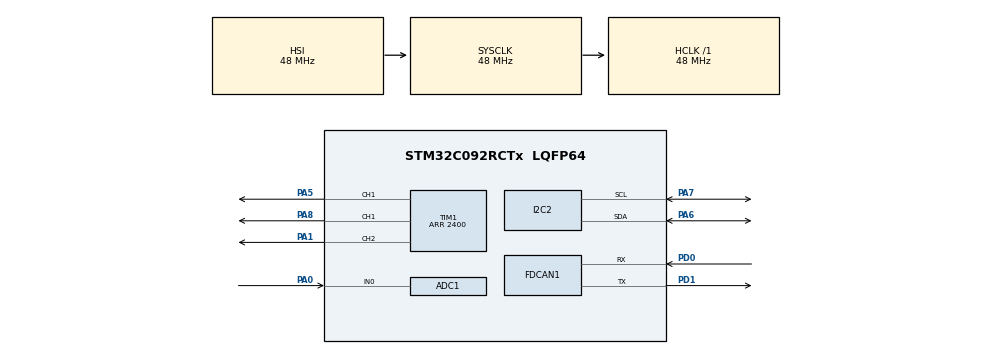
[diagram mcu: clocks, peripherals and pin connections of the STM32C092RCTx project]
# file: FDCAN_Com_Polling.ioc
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ADC1.NbrOfConversionFlag=0
ADC1.SelectedChannel=ADC_CHANNEL_0
ADC1.master=1
FDCAN1.AutoRetransmission=ENABLE
FDCAN1.CalculateBaudRateData=1000000
FDCAN1.CalculateBaudRateNominal=1000000
FDCAN1.CalculateTimeBitNominal=1000
FDCAN1.CalculateTimeQuantumNominal=20.833333333333332
FDCAN1.DataSyncJumpWidth=6
FDCAN1.DataTimeSeg1=17
FDCAN1.DataTimeSeg2=6
FDCAN1.FrameFormat=FDCAN_FRAME_FD_BRS
FDCAN1.NominalPrescaler=1
FDCAN1.NominalSyncJumpWidth=12
FDCAN1.NominalTimeSeg1=35
FDCAN1.NominalTimeSeg2=12
FDCAN1.StdFiltersNbr=1
FDCAN1.TransmitPause=ENABLE
I2C2.Timing=0x10805D88
Mcu.Family=STM32C0
Mcu.Name=STM32C092RCTx
Mcu.Package=LQFP64
NUCLEO-C092RC.LD1=true
NUCLEO-C092RC.LD2=true
NUCLEO-C092RC.VCP=true
NVIC.TIM2_IRQn=true\:0\:0\:false\:false\:true\:true\:true\:true
PA0.Mode=IN0
PA0.Signal=ADC1_IN0
PA1.Signal=S_TIM1_CH2
PA5.Signal=S_TIM1_CH1
PA6.Mode=I2C
PA6.Signal=I2C2_SDA
PA7.Mode=I2C
PA7.Signal=I2C2_SCL
PA8.Signal=S_TIM1_CH1
PD0.Mode=FDCAN_Activate
PD0.Signal=FDCAN1_RX
PD1.Mode=FDCAN_Activate
PD1.Signal=FDCAN1_TX
ProjectManager.HeapSize=0x200
ProjectManager.StackSize=0x400
ProjectManager.TargetToolchain=STM32CubeIDE
RCC.ADCFreq_Value=48000000
RCC.AHBFreq_Value=48000000
RCC.CortexFreq_Value=48000000
RCC.EXTERNAL_CLOCK_VALUE=12288000
RCC.HCLKFreq_Value=48000000
RCC.HSE_VALUE=8000000
RCC.HSISYSCLKDivider=RCC_HSI_DIV1
RCC.HSI_VALUE=48000000
RCC.LSE_VALUE=32768
RCC.SYSCLKFreq_VALUE=48000000
SH.S_TIM1_CH1.0=TIM1_CH1,PWM Generation1 CH1
SH.S_TIM1_CH2.0=TIM1_CH2,PWM Generation2 CH2
TIM1.Channel-PWM\ Generation1\ CH1=TIM_CHANNEL_1
TIM1.Channel-PWM\ Generation2\ CH2=TIM_CHANNEL_2
TIM1.Period=2400
TIM2.Period=48000
VP_NUCLEO-C092RC_VS_BSP_COMMON.Mode=COMMON
VP_TIM2_VS_ClockSourceINT.Mode=Internal
board=NUCLEO-C092RC

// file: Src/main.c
/* USER CODE BEGIN Header */
/**
  ******************************************************************************
  * @file    FDCAN/FDCAN_Com_Polling/Src/main.c
  * @author  MCD Application Team
  * @brief   This sample code shows how to achieve Polling Process Communication
  *          between two FDCAN units.
  ******************************************************************************
  * @attention
  *
  * Copyright (c) 2024 STMicroelectronics.
  * All rights reserved.
  *
  * This software is licensed under terms that can be found in the LICENSE file
  * in the root directory of this software component.
  * If no LICENSE file comes with this software, it is provided AS-IS.
  *
  ******************************************************************************
  */
/* USER CODE END Header */
#include "main.h"

/* USER CODE BEGIN PD */
#define TX_ID          (0x111)   /* TX CAN message identifier    */
#define RX_ID          (0x111)   /* RX CAN message identifier    */
/* USER CODE END PD */

/* USER CODE BEGIN PM */
#define COUNTOF(BUFFER) (sizeof((BUFFER)) / sizeof(*(BUFFER)))
/* USER CODE END PM */

COM_InitTypeDef BspCOMInit;
ADC_HandleTypeDef hadc1;

FDCAN_HandleTypeDef hfdcan1;

I2C_HandleTypeDef hi2c2;

TIM_HandleTypeDef htim1;
TIM_HandleTypeDef htim2;

/* USER CODE BEGIN PV */
FDCAN_RxHeaderTypeDef rxHeader;
FDCAN_TxHeaderTypeDef txHeader;
uint8_t rxData[16U];
static const uint8_t txData[] = {0x10, 0x32, 0x54, 0x76, 0x98, 0x00, 0x11, 0x22,
                                 0x33, 0x44, 0x55, 0x66, 0x77, 0x88, 0x99, 0x00
                                };

/* USER CODE END PV */

void SystemClock_Config(void);
static void MX_GPIO_Init(void);
static void MX_FDCAN1_Init(void);
static void MX_ADC1_Init(void);
static void MX_TIM1_Init(void);
static void MX_TIM2_Init(void);
static void MX_I2C2_Init(void);
/* USER CODE BEGIN PFP */
static uint32_t BufferCmp8b(const uint8_t *pBuffer1, const uint8_t *pBuffer2, uint16_t BufferLength);

/* USER CODE END PFP */

/* USER CODE BEGIN 0 */

uint32_t read_adc(){
	uint32_t raw;
	HAL_ADC_Start(&hadc1);                                 // start conversion
	if (HAL_ADC_PollForConversion(&hadc1, 10) == HAL_OK)  // wait (10 ms timeout)
	{
	    raw = HAL_ADC_GetValue(&hadc1);                   // read raw ADC value
	}
	else {
	    raw = 0;
	}
	HAL_ADC_Stop(&hadc1);
	return raw;
}
#define INA219_ADDR 0b1000000 // I2C address
#define INA219_REG_CONFIG 0x00 // config register address
#define INA219_REG_CURRENT 0x04 // current register
#define INA219_REG_CALIBRATION 0x05 // calibration register

volatile float kp = 6;
volatile float ki = 1800;

float desired_current[400];
float saved_current[400];
float pid_out[400];

int ind = 0;
float curr = 100.0;

void init_setpoint(float arr[400]){
    for (int ii = 0; ii<4; ii++){
        for (int jj = 0; jj<100; jj++){
            arr[ind] = curr;
            ind++;
        }
        curr = -curr;
    }
}

#define EINTMAX 200
#define EINTMIN -200

volatile int state = 0;

// private functions
void writeINA219(int reg, int value);
signed short readINA219(unsigned char reg);

void init_ina219();
float read_ina219();

void init_ina219(){

    // set the INA219 sensitivity - 10 bit, plus/minus160mV, 148us per sample
    unsigned short ina219_calValue = 1024;
    unsigned short ina219_config = 0b0011000010001111;
    writeINA219(INA219_REG_CALIBRATION, ina219_calValue);
    writeINA219(INA219_REG_CONFIG, ina219_config);
}

float read_ina219(){
    float ma = 0;
    signed short value = readINA219(INA219_REG_CURRENT);
    ma = value / 3.0;
    return ma;
}

// write 2 bytes
void writeINA219(int reg, int value){
    uint8_t buf[3];
    buf[0] = reg;
    buf[1] = value>>8;
    buf[2] = value&0xff;
    HAL_I2C_Master_Transmit(&hi2c2, INA219_ADDR<<1, buf, 3, 10);
}

// read 2 bytes
signed short readINA219(unsigned char reg){
	HAL_I2C_Master_Transmit(&hi2c2, INA219_ADDR<<1, &reg, 1, 10);
    uint8_t buffer[2];
    HAL_I2C_Master_Receive(&hi2c2, INA219_ADDR<<1, buffer, 2, 10);
    signed short value = (buffer[0]<<8)|buffer[1];
    return value;
}

void set_duty(float duty){
    // printf("duty in set: %f ", duty);
    if (duty > 0){
    	__HAL_TIM_SET_COMPARE(&htim1, TIM_CHANNEL_1, 2400);
    	__HAL_TIM_SET_COMPARE(&htim1, TIM_CHANNEL_2, 2400*(100-duty)/100);
        // printf("wrap level: %f ", 2500 * (100-duty)/100);
    }
    else if (duty < 0){
    	__HAL_TIM_SET_COMPARE(&htim1, TIM_CHANNEL_1, 2400*(100-duty)/100);
        __HAL_TIM_SET_COMPARE(&htim1, TIM_CHANNEL_2, 2400);

    }
    else if (duty == 0){
    	__HAL_TIM_SET_COMPARE(&htim1, TIM_CHANNEL_1, 2400);
    	__HAL_TIM_SET_COMPARE(&htim1, TIM_CHANNEL_2, 2400);
    }

}

// timer based interrupt
void HAL_TIM_PeriodElapsedCallback(TIM_HandleTypeDef *htim)
{
    if (htim == &htim2) {
    	static volatile int counter = 0;
    	uint32_t position = read_adc();

    	if (position > 4000 || position < 550){
    					  __HAL_TIM_SET_COMPARE(&htim1, TIM_CHANNEL_1, 2400);
    					  __HAL_TIM_SET_COMPARE(&htim1, TIM_CHANNEL_2, 2400);
    				 }
    	if (state) {
			  // 3955 is zero degrees, 552 is 180 degrees,

    		saved_current[counter] = read_ina219();

            static int eint = 0;
            int error = desired_current[counter] - saved_current[counter];

            counter++;
            if (counter == 400){
                counter = 0;
                __HAL_TIM_SET_COMPARE(&htim1, TIM_CHANNEL_1, 2400);
                __HAL_TIM_SET_COMPARE(&htim1, TIM_CHANNEL_2, 2400);
                eint = 0;
                state = 0;
            }

            eint = eint + error;

            if (eint > EINTMAX){
                eint = EINTMAX;
            }
            else if (eint < EINTMIN){
                eint = EINTMIN;
            }
            float upercent = kp*error + ki*eint;
            // upercent += 50;
            pid_out[counter] = upercent;
             if(upercent > 100){
                    upercent = 100.0;
                }
            else if(upercent < -100){
                    upercent = -100;
                }
            set_duty(upercent);

		 }
        }
    }

/* USER CODE END 0 */

int main(void)
{

  /* USER CODE BEGIN 1 */

  /* STM32C0xx HAL library initialization:
       - Configure the Flash prefetch
       - Systick timer is configured by default as source of time base, but user
         can eventually implement his proper time base source (a general purpose
         timer for example or other time source), keeping in mind that Time base
         duration should be kept 1ms since PPP_TIMEOUT_VALUEs are defined and
         handled in milliseconds basis.
       - Low Level Initialization
     */
  /* USER CODE END 1 */

  /* MCU Configuration--------------------------------------------------------*/

  /* Reset of all peripherals, Initializes the Flash interface and the Systick. */
  HAL_Init();

  /* Configure the system clock */
  SystemClock_Config();

  /* USER CODE BEGIN SysInit */
  /* Configure LED1 and LED2 */
  BSP_LED_Init(LED1);
  BSP_LED_Init(LED2);

  /* Configure User push-button in interrupt mode */
  BSP_PB_Init(BUTTON_USER, BUTTON_MODE_EXTI);

  /* USER CODE END SysInit */

  /* Initialize all configured peripherals */
  MX_GPIO_Init();
  MX_FDCAN1_Init();
  MX_ADC1_Init();
  MX_TIM1_Init();
  MX_TIM2_Init();
  MX_I2C2_Init();
  /* USER CODE BEGIN 2 */

  // enable timer and interrupt
  HAL_TIM_Base_Start_IT(&htim2);

  // enable PWM
  __HAL_TIM_SET_COMPARE(&htim1, TIM_CHANNEL_1, 2400);
  __HAL_TIM_SET_COMPARE(&htim1, TIM_CHANNEL_2, 2400);
  HAL_TIM_PWM_Start(&htim1, TIM_CHANNEL_1);
  HAL_TIM_PWM_Start(&htim1, TIM_CHANNEL_2);

  /* Configure reception filter to Rx FIFO 0 */
  FDCAN_FilterTypeDef        sFilterConfig;
  sFilterConfig.IdType       = FDCAN_STANDARD_ID;
  sFilterConfig.FilterIndex  = 0U;
  sFilterConfig.FilterType   = FDCAN_FILTER_MASK;
  sFilterConfig.FilterConfig = FDCAN_FILTER_TO_RXFIFO0;
  sFilterConfig.FilterID1    = TX_ID;
  sFilterConfig.FilterID2    = 0x7FF;
  if (HAL_FDCAN_ConfigFilter(&hfdcan1, &sFilterConfig) != HAL_OK)
  {
    Error_Handler();
  }

  /**
    *  Configure global filter:
    *    - Filter all remote frames with STD and EXT ID
    *    - Reject non matching frames with STD ID and EXT ID
    */
  if (HAL_FDCAN_ConfigGlobalFilter(&hfdcan1,
                                   FDCAN_REJECT, FDCAN_REJECT,
                                   FDCAN_FILTER_REMOTE, FDCAN_FILTER_REMOTE) != HAL_OK)
  {
    Error_Handler();
  }

  /* Prepare Tx message Header */
  txHeader.Identifier          = TX_ID;
  txHeader.IdType              = FDCAN_STANDARD_ID;
  txHeader.TxFrameType         = FDCAN_DATA_FRAME;
  txHeader.DataLength          = FDCAN_DLC_BYTES_16;
  txHeader.ErrorStateIndicator = FDCAN_ESI_ACTIVE;
  txHeader.BitRateSwitch       = FDCAN_BRS_ON;
  txHeader.FDFormat            = FDCAN_FD_CAN;
  txHeader.TxEventFifoControl  = FDCAN_NO_TX_EVENTS;
  txHeader.MessageMarker       = 0U;

  /**
    * Configure and enable Tx Delay Compensation, required for BRS mode.
    * TdcOffset default recommended value: DataTimeSeg1 * DataPrescaler
    * TdcFilter default recommended value: 0
    */
  if (HAL_FDCAN_ConfigTxDelayCompensation(&hfdcan1,
                                          (hfdcan1.Init.DataPrescaler * hfdcan1.Init.DataTimeSeg1), 0U) != HAL_OK)
  {
    Error_Handler();
  }

  if (HAL_FDCAN_EnableTxDelayCompensation(&hfdcan1) != HAL_OK)
  {
    Error_Handler();
  }

  /* Start FDCAN controller */
  if (HAL_FDCAN_Start(&hfdcan1) != HAL_OK)
  {
    Error_Handler();
  }
  /* USER CODE END 2 */

  /* Initialize leds */
  BSP_LED_Init(LED_GREEN);
  BSP_LED_Init(LED_BLUE);

  /* Initialize COM1 port (115200, 8 bits (7-bit data + 1 stop bit), no parity */
  BspCOMInit.BaudRate   = 115200;
  BspCOMInit.WordLength = COM_WORDLENGTH_8B;
  BspCOMInit.StopBits   = COM_STOPBITS_1;
  BspCOMInit.Parity     = COM_PARITY_NONE;
  BspCOMInit.HwFlowCtl  = COM_HWCONTROL_NONE;
  if (BSP_COM_Init(COM1, &BspCOMInit) != BSP_ERROR_NONE)
  {
    Error_Handler();
  }

  /* Infinite loop */
  /* USER CODE BEGIN WHILE */
  while (1)
  {
	  printf("in the while loop\r\n");
	  init_setpoint(desired_current);
	  printf("setpoints initialized\r\n");
	  char user_input[10];

//	  HAL_UART_Receive(&huart1, (uint8_t *)&user_input, 1, HAL_MAX_DELAY);

	  HAL_Delay(2000);
//	  if (user_input[0] == 'a'){
		 state = 1;
		 printf("set state to 1\r\n");
		  while(state){
			  HAL_Delay(100U);
		  }
		  printf("state is 0 again\r\n");
//	 }

//		  for(int i = 0; i<200; i++){
//			  float test = read_ina219();
//			  printf("current = %d\r\n", (int)test);
//		  }
//		  printf("400\n");
	  for(int i = 0; i<400; i++){
		  printf("(%d, %d), ", (int)desired_current[i], (int)saved_current[i]);
	  }

    /* Polling mode: Wait for one message received */
    while (HAL_FDCAN_GetRxFifoFillLevel(&hfdcan1, FDCAN_RX_FIFO0) < 1U)
    {
      /* Do nothing, wait */
    }

    /* Retrieve Rx message from RX FIFO0 */
    if (HAL_FDCAN_GetRxMessage(&hfdcan1, FDCAN_RX_FIFO0, &rxHeader, rxData) != HAL_OK)
    {
      Error_Handler();
    }
    printf("Received ID: 0x%03X Data: %02X %02X %02X %02X \r\n", rxHeader.Identifier, rxData[0], rxData[1], rxData[2], rxData[3]);

    /* Compare received RX message to expected data. Ignore if not matching. */
    if ((rxHeader.Identifier == RX_ID) &&
        (rxHeader.IdType     == FDCAN_STANDARD_ID) &&
        (rxHeader.DataLength == FDCAN_DLC_BYTES_16) &&
        (BufferCmp8b(txData, rxData, COUNTOF(rxData)) == 0U))
    {
      /* Turn LED1 on */
      BSP_LED_On(LED1);
    }
    /* USER CODE END WHILE */

  }
}

void SystemClock_Config(void)
{
  RCC_OscInitTypeDef RCC_OscInitStruct = {0};
  RCC_ClkInitTypeDef RCC_ClkInitStruct = {0};

  __HAL_FLASH_SET_LATENCY(FLASH_LATENCY_1);

  /** Initializes the RCC Oscillators according to the specified parameters
  * in the RCC_OscInitTypeDef structure.
  */
  RCC_OscInitStruct.OscillatorType = RCC_OSCILLATORTYPE_HSI;
  RCC_OscInitStruct.HSIState = RCC_HSI_ON;
  RCC_OscInitStruct.HSIDiv = RCC_HSI_DIV1;
  RCC_OscInitStruct.HSICalibrationValue = RCC_HSICALIBRATION_DEFAULT;
  if (HAL_RCC_OscConfig(&RCC_OscInitStruct) != HAL_OK)
  {
    Error_Handler();
  }

  /** Initializes the CPU, AHB and APB buses clocks
  */
  RCC_ClkInitStruct.ClockType = RCC_CLOCKTYPE_HCLK|RCC_CLOCKTYPE_SYSCLK
                              |RCC_CLOCKTYPE_PCLK1;
  RCC_ClkInitStruct.SYSCLKSource = RCC_SYSCLKSOURCE_HSI;
  RCC_ClkInitStruct.SYSCLKDivider = RCC_SYSCLK_DIV1;
  RCC_ClkInitStruct.AHBCLKDivider = RCC_HCLK_DIV1;
  RCC_ClkInitStruct.APB1CLKDivider = RCC_APB1_DIV1;

  if (HAL_RCC_ClockConfig(&RCC_ClkInitStruct, FLASH_LATENCY_1) != HAL_OK)
  {
    Error_Handler();
  }
}

static void MX_ADC1_Init(void)
{

  ADC_ChannelConfTypeDef sConfig = {0};

  /** Configure the global features of the ADC (Clock, Resolution, Data Alignment and number of conversion)
  */
  hadc1.Instance = ADC1;
  hadc1.Init.ClockPrescaler = ADC_CLOCK_SYNC_PCLK_DIV2;
  hadc1.Init.Resolution = ADC_RESOLUTION_12B;
  hadc1.Init.DataAlign = ADC_DATAALIGN_RIGHT;
  hadc1.Init.ScanConvMode = ADC_SCAN_SEQ_FIXED;
  hadc1.Init.EOCSelection = ADC_EOC_SINGLE_CONV;
  hadc1.Init.LowPowerAutoWait = DISABLE;
  hadc1.Init.LowPowerAutoPowerOff = DISABLE;
  hadc1.Init.ContinuousConvMode = DISABLE;
  hadc1.Init.NbrOfConversion = 1;
  hadc1.Init.DiscontinuousConvMode = DISABLE;
  hadc1.Init.ExternalTrigConv = ADC_SOFTWARE_START;
  hadc1.Init.ExternalTrigConvEdge = ADC_EXTERNALTRIGCONVEDGE_NONE;
  hadc1.Init.DMAContinuousRequests = DISABLE;
  hadc1.Init.Overrun = ADC_OVR_DATA_PRESERVED;
  hadc1.Init.SamplingTimeCommon1 = ADC_SAMPLETIME_1CYCLE_5;
  hadc1.Init.OversamplingMode = DISABLE;
  hadc1.Init.TriggerFrequencyMode = ADC_TRIGGER_FREQ_HIGH;
  if (HAL_ADC_Init(&hadc1) != HAL_OK)
  {
    Error_Handler();
  }

  /** Configure Regular Channel
  */
  sConfig.Channel = ADC_CHANNEL_0;
  sConfig.Rank = ADC_RANK_CHANNEL_NUMBER;
  if (HAL_ADC_ConfigChannel(&hadc1, &sConfig) != HAL_OK)
  {
    Error_Handler();
  }

}

static void MX_FDCAN1_Init(void)
{

  hfdcan1.Instance = FDCAN1;
  hfdcan1.Init.ClockDivider = FDCAN_CLOCK_DIV1;
  hfdcan1.Init.FrameFormat = FDCAN_FRAME_FD_BRS;
  hfdcan1.Init.Mode = FDCAN_MODE_NORMAL;
  hfdcan1.Init.AutoRetransmission = ENABLE;
  hfdcan1.Init.TransmitPause = ENABLE;
  hfdcan1.Init.ProtocolException = DISABLE;
  hfdcan1.Init.NominalPrescaler = 1;
  hfdcan1.Init.NominalSyncJumpWidth = 12;
  hfdcan1.Init.NominalTimeSeg1 = 35;
  hfdcan1.Init.NominalTimeSeg2 = 12;
  hfdcan1.Init.DataPrescaler = 1;
  hfdcan1.Init.DataSyncJumpWidth = 6;
  hfdcan1.Init.DataTimeSeg1 = 17;
  hfdcan1.Init.DataTimeSeg2 = 6;
  hfdcan1.Init.StdFiltersNbr = 1;
  hfdcan1.Init.ExtFiltersNbr = 0;
  hfdcan1.Init.TxFifoQueueMode = FDCAN_TX_FIFO_OPERATION;
  if (HAL_FDCAN_Init(&hfdcan1) != HAL_OK)
  {
    Error_Handler();
  }

}

static void MX_I2C2_Init(void)
{

  hi2c2.Instance = I2C2;
  hi2c2.Init.Timing = 0x10805D88;
  hi2c2.Init.OwnAddress1 = 0;
  hi2c2.Init.AddressingMode = I2C_ADDRESSINGMODE_7BIT;
  hi2c2.Init.DualAddressMode = I2C_DUALADDRESS_DISABLE;
  hi2c2.Init.OwnAddress2 = 0;
  hi2c2.Init.OwnAddress2Masks = I2C_OA2_NOMASK;
  hi2c2.Init.GeneralCallMode = I2C_GENERALCALL_DISABLE;
  hi2c2.Init.NoStretchMode = I2C_NOSTRETCH_DISABLE;
  if (HAL_I2C_Init(&hi2c2) != HAL_OK)
  {
    Error_Handler();
  }

  /** Configure Analogue filter
  */
  if (HAL_I2CEx_ConfigAnalogFilter(&hi2c2, I2C_ANALOGFILTER_ENABLE) != HAL_OK)
  {
    Error_Handler();
  }

  /** Configure Digital filter
  */
  if (HAL_I2CEx_ConfigDigitalFilter(&hi2c2, 0) != HAL_OK)
  {
    Error_Handler();
  }

}

static void MX_TIM1_Init(void)
{

  TIM_MasterConfigTypeDef sMasterConfig = {0};
  TIM_OC_InitTypeDef sConfigOC = {0};
  TIM_BreakDeadTimeConfigTypeDef sBreakDeadTimeConfig = {0};

  htim1.Instance = TIM1;
  htim1.Init.Prescaler = 0;
  htim1.Init.CounterMode = TIM_COUNTERMODE_UP;
  htim1.Init.Period = 2400;
  htim1.Init.ClockDivision = TIM_CLOCKDIVISION_DIV1;
  htim1.Init.RepetitionCounter = 0;
  htim1.Init.AutoReloadPreload = TIM_AUTORELOAD_PRELOAD_DISABLE;
  if (HAL_TIM_PWM_Init(&htim1) != HAL_OK)
  {
    Error_Handler();
  }
  sMasterConfig.MasterOutputTrigger = TIM_TRGO_RESET;
  sMasterConfig.MasterOutputTrigger2 = TIM_TRGO2_RESET;
  sMasterConfig.MasterSlaveMode = TIM_MASTERSLAVEMODE_DISABLE;
  if (HAL_TIMEx_MasterConfigSynchronization(&htim1, &sMasterConfig) != HAL_OK)
  {
    Error_Handler();
  }
  sConfigOC.OCMode = TIM_OCMODE_PWM1;
  sConfigOC.Pulse = 0;
  sConfigOC.OCPolarity = TIM_OCPOLARITY_HIGH;
  sConfigOC.OCNPolarity = TIM_OCNPOLARITY_HIGH;
  sConfigOC.OCFastMode = TIM_OCFAST_DISABLE;
  sConfigOC.OCIdleState = TIM_OCIDLESTATE_RESET;
  sConfigOC.OCNIdleState = TIM_OCNIDLESTATE_RESET;
  if (HAL_TIM_PWM_ConfigChannel(&htim1, &sConfigOC, TIM_CHANNEL_1) != HAL_OK)
  {
    Error_Handler();
  }
  if (HAL_TIM_PWM_ConfigChannel(&htim1, &sConfigOC, TIM_CHANNEL_2) != HAL_OK)
  {
    Error_Handler();
  }
  sBreakDeadTimeConfig.OffStateRunMode = TIM_OSSR_DISABLE;
  sBreakDeadTimeConfig.OffStateIDLEMode = TIM_OSSI_DISABLE;
  sBreakDeadTimeConfig.LockLevel = TIM_LOCKLEVEL_OFF;
  sBreakDeadTimeConfig.DeadTime = 0;
  sBreakDeadTimeConfig.BreakState = TIM_BREAK_DISABLE;
  sBreakDeadTimeConfig.BreakPolarity = TIM_BREAKPOLARITY_HIGH;
  sBreakDeadTimeConfig.BreakFilter = 0;
  sBreakDeadTimeConfig.BreakAFMode = TIM_BREAK_AFMODE_INPUT;
  sBreakDeadTimeConfig.Break2State = TIM_BREAK2_DISABLE;
  sBreakDeadTimeConfig.Break2Polarity = TIM_BREAK2POLARITY_HIGH;
  sBreakDeadTimeConfig.Break2Filter = 0;
  sBreakDeadTimeConfig.Break2AFMode = TIM_BREAK_AFMODE_INPUT;
  sBreakDeadTimeConfig.AutomaticOutput = TIM_AUTOMATICOUTPUT_DISABLE;
  if (HAL_TIMEx_ConfigBreakDeadTime(&htim1, &sBreakDeadTimeConfig) != HAL_OK)
  {
    Error_Handler();
  }
  HAL_TIM_MspPostInit(&htim1);

}

static void MX_TIM2_Init(void)
{

  TIM_ClockConfigTypeDef sClockSourceConfig = {0};
  TIM_MasterConfigTypeDef sMasterConfig = {0};

  htim2.Instance = TIM2;
  htim2.Init.Prescaler = 0;
  htim2.Init.CounterMode = TIM_COUNTERMODE_UP;
  htim2.Init.Period = 48000;
  htim2.Init.ClockDivision = TIM_CLOCKDIVISION_DIV1;
  htim2.Init.AutoReloadPreload = TIM_AUTORELOAD_PRELOAD_DISABLE;
  if (HAL_TIM_Base_Init(&htim2) != HAL_OK)
  {
    Error_Handler();
  }
  sClockSourceConfig.ClockSource = TIM_CLOCKSOURCE_INTERNAL;
  if (HAL_TIM_ConfigClockSource(&htim2, &sClockSourceConfig) != HAL_OK)
  {
    Error_Handler();
  }
  sMasterConfig.MasterOutputTrigger = TIM_TRGO_RESET;
  sMasterConfig.MasterSlaveMode = TIM_MASTERSLAVEMODE_DISABLE;
  if (HAL_TIMEx_MasterConfigSynchronization(&htim2, &sMasterConfig) != HAL_OK)
  {
    Error_Handler();
  }

}

static void MX_GPIO_Init(void)
{

  /* GPIO Ports Clock Enable */
  __HAL_RCC_GPIOA_CLK_ENABLE();
  __HAL_RCC_GPIOD_CLK_ENABLE();

}

/* USER CODE BEGIN 4 */

/**
  * @brief  BSP User push-button callback
  * @param  Button Specifies the pin connected EXTI line
  * @retval None.
  */
void BSP_PB_Callback(Button_TypeDef Button)
{
  if (Button == BUTTON_USER)
  {
    /* Turn LED1 off */
    BSP_LED_Off(LED1);

    /* Add message to TX FIFO */
    if (HAL_FDCAN_AddMessageToTxFifoQ(&hfdcan1, &txHeader, txData) != HAL_OK)
    {
      Error_Handler();

    }

    printf("Sent ID: 0x%03X Data: %02X %02X %02X %02X \r\n", TX_ID, txData[0], txData[1], txData[2], txData[3]);
    /* Delay for simple button debounce */
    HAL_Delay(100U);
  }
}

/**
  * @brief  Compares two buffers.
  * @param  pBuffer1 buffer to be compared.
  * @param  pBuffer2 buffer to be compared.
  * @param  BufferLength: buffer's length.
  * @retval 0: pBuffer1 is identical to pBuffer2
  * @retval 1: pBuffer1 differs from pBuffer2
  */
static uint32_t BufferCmp8b(const uint8_t *pBuffer1, const uint8_t *pBuffer2, uint16_t BufferLength)
{
  while (BufferLength--)
  {
    if (*pBuffer1 != *pBuffer2)
    {
      return 1U;
    }

    pBuffer1++;
    pBuffer2++;
  }
  return 0U;
}
/* USER CODE END 4 */

void Error_Handler(void)
{
  /* USER CODE BEGIN Error_Handler_Debug */
  /* User can add his own implementation to report the HAL error return state */

  while (1)
  {
    /* Toggle LED2 on */
    BSP_LED_Toggle(LED2);

    /* 1s delay */
    HAL_Delay(1000U);
  }
  /* USER CODE END Error_Handler_Debug */
}
